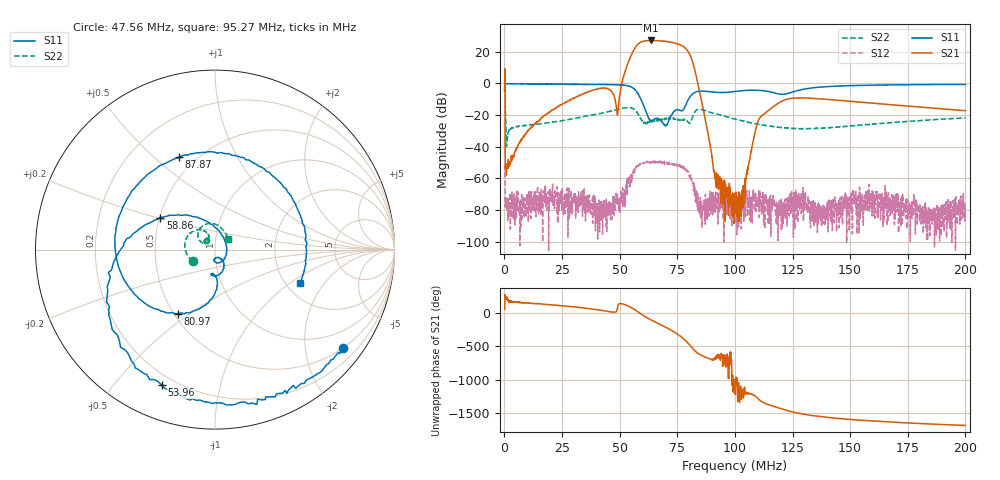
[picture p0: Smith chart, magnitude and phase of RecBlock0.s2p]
! 19-Feb-26 1:53:23 PM
! E:\VNA_MEASUREMENTS\RECBLOCK\RECBLOCK0.S2P
! CHANNEL.1
! TR.MEASUREMENT
! CORRECTED.DATA
# GHZ S RI R 50.0
! FREQ.GHZ  S11RE  S11IM  S21RE  S21IM  S12RE  S12IM  S22RE  S22IM
!; PortSelection: Port_12
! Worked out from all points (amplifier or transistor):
!   2000 points, 50 kHz to 200 MHz, reference 50 ohm
!   highest |S21| = 27.0 dB at 63.47 MHz (marker M1)
!   |S21| within 3 dB of that: 57.55 MHz to 76.64 MHz (19.08 MHz wide, 28.4 % of centre)
!   unconditionally stable (mu >= 1): start of sweep to 172.4 kHz; 297.9 kHz to end of sweep
!   at 33.36 MHz: K = 1144.98, MAG = 1.4 dB, |S12| = -77.1 dB
!   at 100.1 MHz: K = 39033257.42, MAG = -79.8 dB, |S12| = -79.0 dB
!   at 200 MHz: K = 11104.17, MAG = -9.4 dB, |S12| = -85.4 dB
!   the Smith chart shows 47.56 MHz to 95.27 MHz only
!   S11 on the Smith chart (normalised r, x): 47.56 MHz: 0.50, -2.86; 53.96 MHz: 0.15, -0.67; 58.86 MHz: 0.51, +0.21; 80.97 MHz: 0.53, -0.45; 87.87 MHz: 0.41, +0.60; 95.27 MHz: 2.39, -1.20
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5e-05  0.0608 0.6083  0.3105 0.4816  -0.00139 -0.0024  0.4235 -0.143
0.03345835  0.5542 0.7382  0.0668 0.4346  0.000241 0.0003  -0.0145 -0.0845
0.04756188  0.7118 -0.5478  0.3809 0.086  4.91e-05 4.66e-05  -0.1249 -0.0637
0.05396348  -0.2973 -0.7554  -1.16 4.916  -0.000738 0.000903  -0.1603 0.0579
0.05666416  -0.5925 -0.1842  8.868 9.684  0.00126 0.00136  -0.0888 0.1112
0.05886471  -0.3037 0.1785  19.29 -2.092  0.00265 0.000302  -0.0352 0.0708
0.06136533  -0.00299 0.1259  10.88 -18.83  0.00182 -0.00261  -0.0415 0.038
0.06346586  0.0661 0.0117  -3.773 -22.2  -0.000124 -0.00312  -0.0496 0.0385
0.06676668  0.0158 -0.0729  -20.17 -8.549  -0.00262 -0.00153  -0.0521 0.0387
0.06946736  0.000641 -0.0494  -19.66 8.487  -0.00257 0.000649  -0.0627 0.0461
0.07256813  0.0498 -0.0881  -2.724 19.28  -0.000529 0.0028  -0.0517 0.0612
0.07436858  0.0186 -0.1407  9.081 15.72  0.000983 0.00239  -0.0394 0.0603
0.07646911  -0.0203 -0.1355  15.86 2.52  0.00221 0.000422  -0.0379 0.0546
0.07876969  0.0103 -0.2152  6.062 -10.62  0.00108 -0.00144  -0.0354 0.0603
0.08097024  -0.2048 -0.3568  -5.161 -4.017  -0.000687 -0.000728  -0.054 0.0343
0.08287071  -0.484 -0.2028  -1.807 1.192  -0.000174 3.18e-05  -0.0947 0.0938
0.08787196  -0.199 0.5139  0.0255 0.0282  -3.54e-05 2.91e-05  0.027 0.1275
0.09527381  0.476 -0.185  -5.65e-05 0.000716  3.91e-05 0.000104  0.0699 0.0599
0.100075  -0.1329 -0.5345  7.57e-05 -2.24e-05  -9.45e-05 6.09e-05  0.0683 0.028
0.1333833  0.179 0.6895  -0.0527 -0.33  -3.06e-05 -0.000111  -0.00171 -0.0369
0.1666917  0.2485 -0.8484  -0.2053 0.0585  4.4e-06 0.000149  -0.0543 -0.0123
0.2  -0.6978 -0.592  -0.0494 0.1267  -4.45e-05 2.97e-05  -0.069 0.0411
